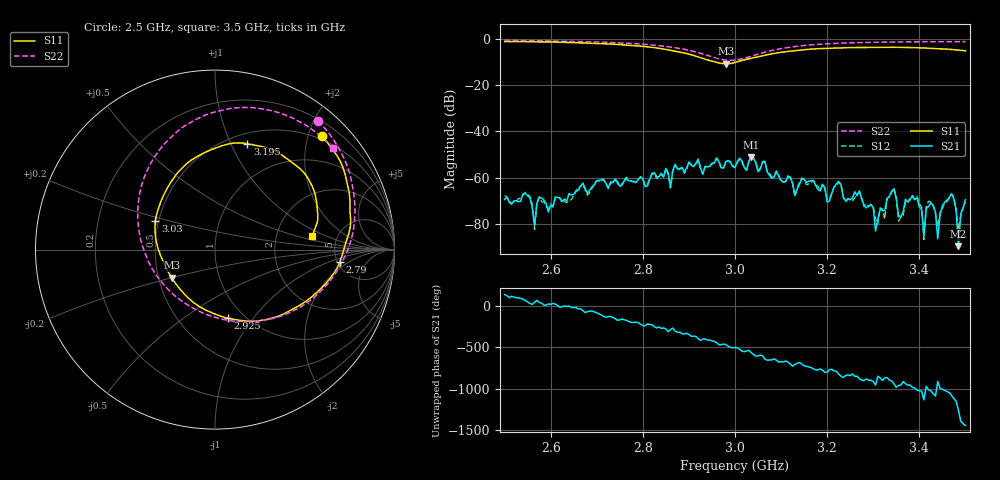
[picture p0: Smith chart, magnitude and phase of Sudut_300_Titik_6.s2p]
# Hz S RI R 50
! CMT, C1220, 16058040, 17.2.0/1
! Date: 15/08/2018 10:19:57
! Data: Format (Calibration Info)
! Freq  S11: Re/Im (F2)  S21: Re/Im (F2)  S12: Re/Im (F2)  S22: Re/Im (F2)
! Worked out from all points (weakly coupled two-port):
!   201 points, 2.5 GHz to 3.5 GHz, reference 50 ohm
!   highest |S21| = -51.13 dB at 3.035 GHz (marker M1); lowest = -89.7 dB at 3.485 GHz (marker M2)
!   lowest |S11| = -10.8 dB at 2.98 GHz (marker M3), VSWR 1.81, Z = 29.3 - j10.1 ohm
!   |S11| at or under -10 dB: 2.956 GHz to 3.005 GHz (48.71 MHz wide, 1.63 % of centre)
!   |S22| runs from -9.3 to -0.7 dB; largest |S21 - S12| = 0.0002
!   S11 on the Smith chart (normalised r, x): 2.5 GHz: 0.43, +2.25; 2.79 GHz: 5.24, -1.41; 2.925 GHz: 0.84, -0.76; 3.03 GHz: 0.48, +0.18; 3.195 GHz: 0.61, +1.16; 3.5 GHz: 3.25, +0.72
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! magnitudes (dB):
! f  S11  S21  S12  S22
! 2.5 GHz  -1.2  -69.5  -67.7  -0.7
! 2.555 GHz  -1.3  -68.7  -68.2  -0.8
! 2.565 GHz  -1.3  -80.6  -82.4  -0.9
! 2.575 GHz  -1.3  -68.7  -68.4  -0.9
! 2.67 GHz  -1.8  -62.4  -62.6  -1.2
! 2.79 GHz  -3.1  -60.8  -60.8  -2.2
! 2.835 GHz  -4.1  -59.7  -59.8  -3.0
! 2.925 GHz  -8.2  -55.7  -56.0  -6.3
! 2.98 GHz  -10.8  -53.2  -53.3  -9.2
! 3 GHz  -10.3  -55.7  -55.8  -9.3
! 3.03 GHz  -8.7  -53.0  -53.1  -7.9
! 3.035 GHz  -8.5  -51.1  -50.9  -7.6
! 3.13 GHz  -5.2  -67.7  -68.2  -3.4
! 3.17 GHz  -4.4  -61.3  -61.2  -2.6
! 3.195 GHz  -4.2  -64.3  -64.7  -2.3
! 3.27 GHz  -3.8  -65.8  -66.3  -1.7
! 3.305 GHz  -3.7  -83.1  -77.9  -1.5
! 3.335 GHz  -3.7  -68.2  -68.3  -1.4
! 3.44 GHz  -4.3  -86.4  -81.1  -1.3
! 3.47 GHz  -4.6  -67.0  -67.2  -1.3
! 3.485 GHz  -4.9  -89.7  -82.4  -1.3
! 3.5 GHz  -5.2  -69.5  -70.6  -1.3
